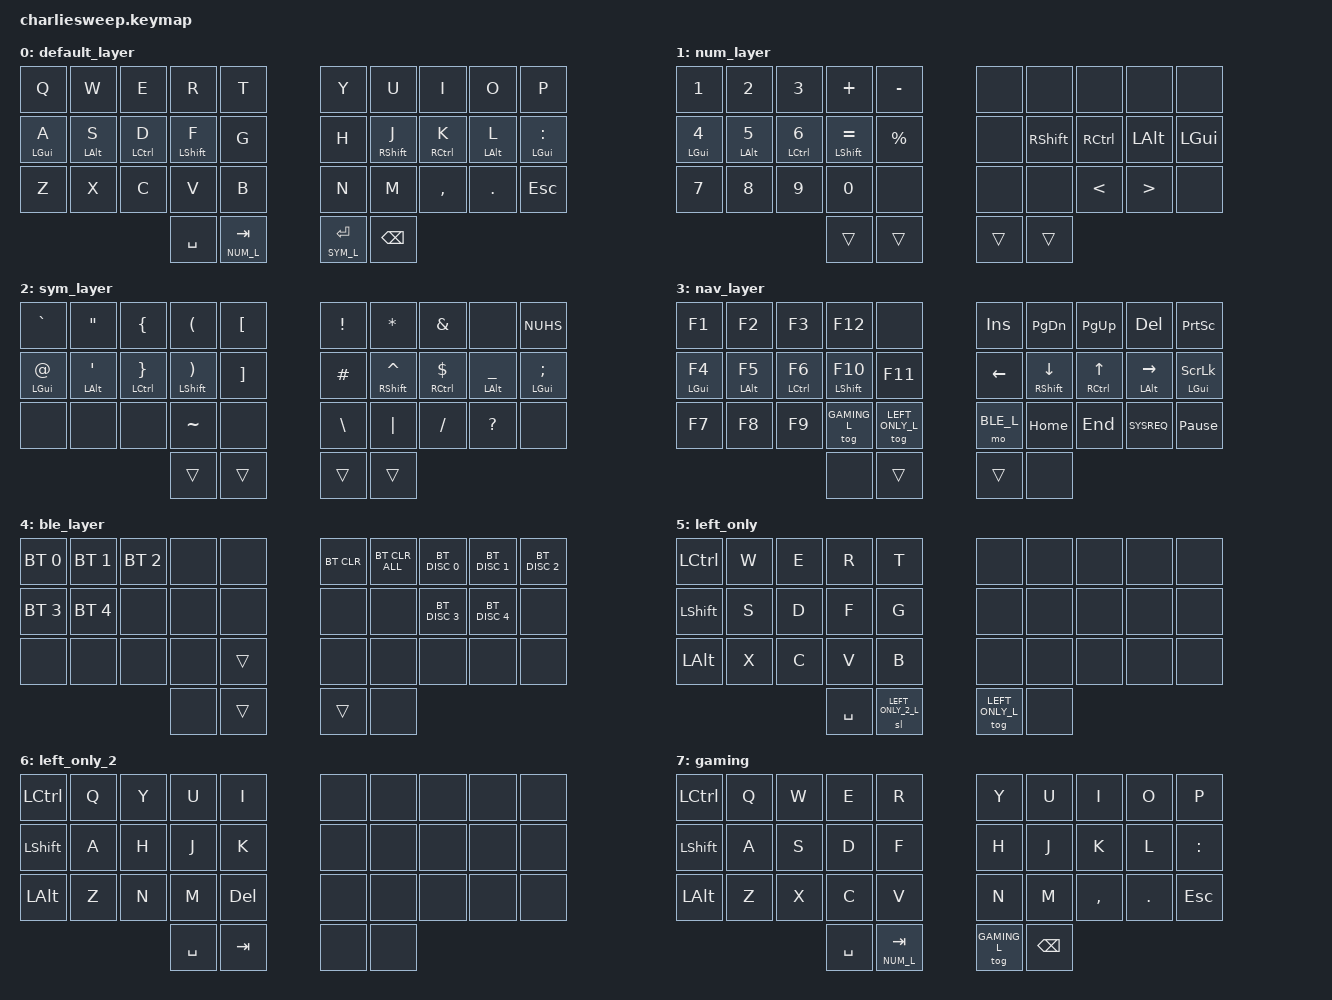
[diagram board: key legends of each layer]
/*
 * Copyright (c) 2020 The ZMK Contributors
 *
 * SPDX-License-Identifier: MIT
 */

#include <behaviors.dtsi>
#include <dt-bindings/zmk/keys.h>
#include <dt-bindings/zmk/bt.h>
#include <dt-bindings/zmk/outputs.h>


#define NUM_L 1
#define SYM_L 2
#define NAV_L 3
#define BLE_L 4
#define LEFT_ONLY_L 5
#define LEFT_ONLY_2_L 6
#define GAMING_L 7

&lt { quick_tap_ms = <200>; };

/ {
    behaviors {
        hm: homerow_mods_right  {
            compatible = "zmk,behavior-hold-tap";
            label = "homerow mods";
            #binding-cells = <2>;
            tapping_term_ms = <150>;
            flavor = "balanced";
            bindings = <&kp>, <&kp>;
            quick-tap-ms = <200>;
        };
    };

    conditional_layers {
        compatible = "zmk,conditional-layers";
        nav_layer {
            if-layers = <1 2>;
            then-layer = <3>;
        };
    };

    combos {
        compatible = "zmk,combos";
        combo_caps {
            layers = <0>;
            timeout-ms = <50>;
            key-positions = <20 29>;
            bindings = <&kp CAPS>;
        };
    };

    keymap {
        compatible = "zmk,keymap";

        default_layer {
            bindings = <

&kp Q          &kp W       &kp E        &kp R        &kp T          &kp Y            &kp U        &kp I        &kp O       &kp P
&hm LGUI A     &hm LALT S  &hm LCTRL D  &hm LSHFT F  &kp G          &kp H            &hm RSHFT J  &hm RCTRL K  &hm LALT L  &hm LGUI COLON
&kp Z  &kp X       &kp C        &kp V        &kp B          &kp N            &kp M        &kp COMMA    &kp DOT     &kp ESC
                                        &kp SPACE    &lt NUM_L TAB  &lt SYM_L ENTER  &kp BSPC

            >;
        };

        num_layer {
            bindings = <

&kp N1       &kp N2       &kp N3        &kp PLUS         &kp MINUS  &none     &none      &none      &none     &none
&hm LGUI N4  &hm LALT N5  &hm LCTRL N6  &hm LSHFT EQUAL  &kp PRCNT  &none     &kp RSHFT  &kp RCTRL  &kp LALT  &kp LGUI
&kp N7       &kp N8       &kp N9        &kp N0           &none      &none     &none      &kp LT     &kp GT    &none
                                        &trans           &trans     &trans    &trans

            >;
        };

        sym_layer {
            bindings = <

&kp GRAVE    &kp DQT       &kp LBRC        &kp LPAR        &kp LBKT  &kp EXCL  &kp STAR         &kp AMPS        &none           &kp NUHS
&hm LGUI AT  &hm LALT SQT  &hm LCTRL RBRC  &hm LSHFT RPAR  &kp RBKT  &kp HASH  &hm RSHFT CARET  &hm RCTRL DLLR  &hm LALT UNDER  &hm LGUI SEMI
&none        &none         &none           &kp TILDE       &none     &kp BSLH  &kp PIPE         &kp FSLH        &kp QMARK       &none
                                           &trans          &trans    &trans    &trans

            >;
        };

        nav_layer {
            bindings = <

&kp F1       &kp F2       &kp F3        &kp F12        &none             &kp INS    &kp PG_DN        &kp PG_UP      &kp DEL          &kp PSCRN
&hm LGUI F4  &hm LALT F5  &hm LCTRL F6  &hm LSHFT F10  &kp F11           &kp LEFT   &hm RSHFT DOWN   &hm RCTRL UP   &hm LALT RIGHT   &hm LGUI SLCK
&kp F7       &kp F8       &kp F9        &tog GAMING_L  &tog LEFT_ONLY_L  &mo BLE_L  &kp HOME         &kp END        &kp SYSREQ       &kp PAUSE_BREAK
                                        &none          &trans            &trans     &none

            >;
        };

        ble_layer {
            bindings = <

&bt BT_SEL 0  &bt BT_SEL 1  &bt BT_SEL 2  &none  &none     &bt BT_CLR  &bt BT_CLR_ALL  &bt BT_DISC 0  &bt BT_DISC 1  &bt BT_DISC 2  
&bt BT_SEL 3  &bt BT_SEL 4  &none         &none  &none     &none       &none           &bt BT_DISC 3  &bt BT_DISC 4  &none
&none         &none         &none         &none  &trans    &none       &none           &none          &none          &none
                                          &none  &trans    &trans      &none
            >;
        };

        left_only {
            bindings = <

&kp LCTRL   &kp W  &kp E  &kp R      &kp T              &none             &none  &none  &none  &none
&kp LSHIFT  &kp S  &kp D  &kp F      &kp G              &none             &none  &none  &none  &none
&kp LALT    &kp X  &kp C  &kp V      &kp B              &none             &none  &none  &none  &none
                          &kp SPACE  &sl LEFT_ONLY_2_L  &tog LEFT_ONLY_L  &none
            >;
        };

        left_only_2 {
            bindings = <

&kp LCTRL   &kp Q  &kp Y  &kp U      &kp I    &none  &none  &none  &none  &none
&kp LSHIFT  &kp A  &kp H  &kp J      &kp K    &none  &none  &none  &none  &none
&kp LALT    &kp Z  &kp N  &kp M      &kp DEL  &none  &none  &none  &none  &none
                          &kp SPACE  &kp TAB  &none  &none
            >;
        };

        gaming {
            bindings = <
&kp LCTRL   &kp Q  &kp W  &kp E      &kp R          &kp Y          &kp U  &kp I      &kp O    &kp P
&kp LSHIFT  &kp A  &kp S  &kp D      &kp F          &kp H          &kp J  &kp K      &kp L    &kp COLON
&kp LALT    &kp Z  &kp X  &kp C      &kp V          &kp N          &kp M  &kp COMMA  &kp DOT  &kp ESC
                          &kp SPACE  &lt NUM_L TAB  &tog GAMING_L  &kp BSPC

            >;
        };
    };
};
